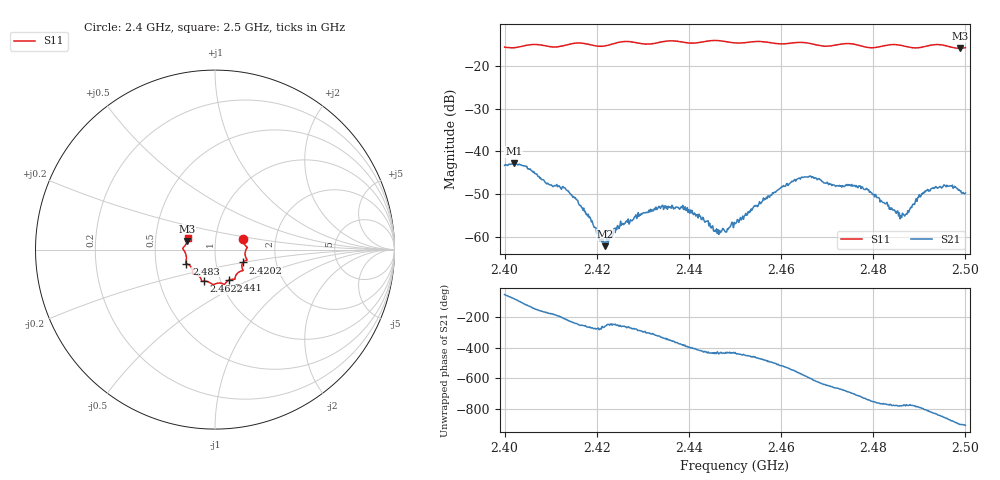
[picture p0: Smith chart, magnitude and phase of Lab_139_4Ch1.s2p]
# Hz S RI R 50
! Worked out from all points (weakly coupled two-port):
!   601 points, 2.4 GHz to 2.5 GHz, reference 50 ohm
!   highest |S21| = -42.82 dB at 2.402 GHz (marker M1); lowest = -62.2 dB at 2.4218 GHz (marker M2)
!   lowest |S11| = -15.8 dB at 2.4988 GHz (marker M3), VSWR 1.39, Z = 36.4 + j3.46 ohm
!   |S11| at or under -10 dB: start of sweep to end of sweep
!   S12 and S22 are empty: the file has one direction only
!   S11 on the Smith chart (normalised r, x): 2.4 GHz: 1.36, +0.17; 2.4202 GHz: 1.35, -0.20; 2.441 GHz: 1.10, -0.39; 2.4622 GHz: 0.83, -0.30; 2.483 GHz: 0.72, -0.12; 2.5 GHz: 0.73, +0.09
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2.4e9  0.1565 0.0606  0.00419 -0.00543  0 0  0 0
2.402e9  0.1608 0.0365  0.0014 -0.00709  0 0  0 0
2.413e9  0.1707 -0.041  -0.00321 0.00197  0 0  0 0
2.416667e9  0.1777 -0.0581  -0.000627 0.00213  0 0  0 0
2.420167e9  0.1565 -0.0718  8.52e-05 0.00113  0 0  0 0
2.421833e9  0.1499 -0.0876  -0.000154 0.000758  0 0  0 0
2.425e9  0.1557 -0.1129  -0.000364 0.00128  0 0  0 0
2.433333e9  0.1129 -0.1521  0.00175 0.00134  0 0  0 0
2.438667e9  0.0989 -0.1646  0.00212 -0.000972  0 0  0 0
2.441e9  0.0769 -0.1706  0.00126 -0.0013  0 0  0 0
2.446e9  0.0517 -0.1938  0.00025 -0.00121  0 0  0 0
2.45e9  0.0268 -0.1863  0.000456 -0.00134  0 0  0 0
2.462167e9  -0.0631 -0.1763  -0.00436 0.000258  0 0  0 0
2.466667e9  -0.0765 -0.1669  -0.00215 0.00442  0 0  0 0
2.477333e9  -0.1251 -0.1202  0.00367 -0.000104  0 0  0 0
2.483e9  -0.159 -0.0779  0.00155 -0.002  0 0  0 0
2.483333e9  -0.1605 -0.0773  0.00141 -0.00186  0 0  0 0
2.486333e9  -0.1619 -0.0656  0.000984 -0.00161  0 0  0 0
2.491333e9  -0.1708 -0.00773  0.000235 -0.00336  0 0  0 0
2.495833e9  -0.1733 0.0148  -0.00307 -0.00231  0 0  0 0
2.498833e9  -0.1556 0.0463  -0.00344 0.000179  0 0  0 0
2.5e9  -0.1532 0.0626  -0.00322 0.000517  0 0  0 0
